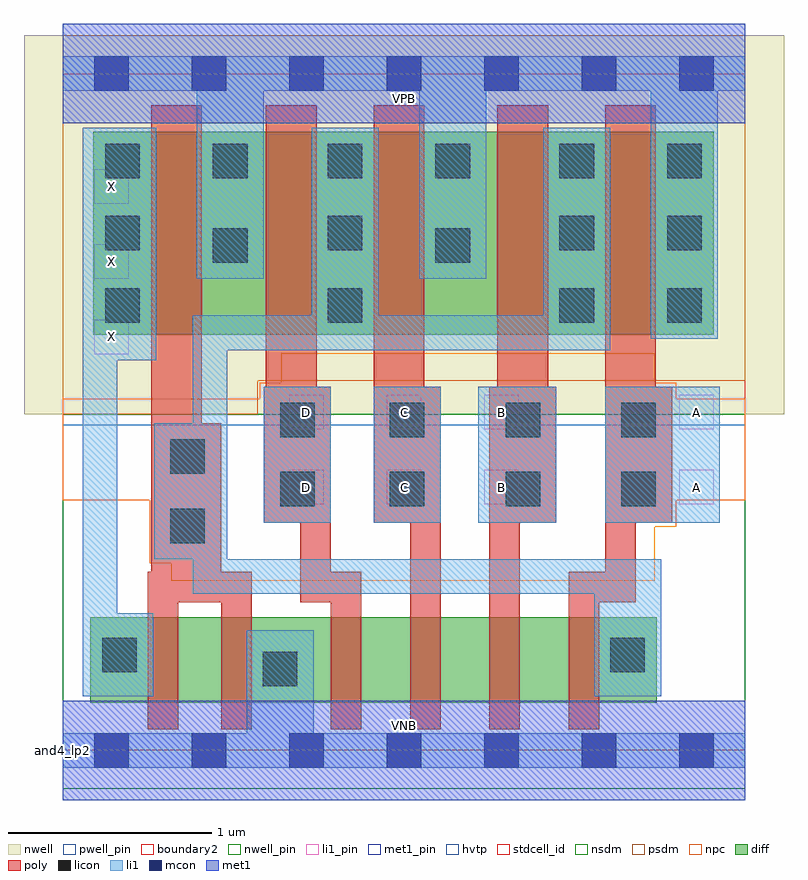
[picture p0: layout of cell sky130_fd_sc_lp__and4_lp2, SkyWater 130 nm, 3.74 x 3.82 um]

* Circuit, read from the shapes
.subckt sky130_fd_sc_lp__and4_lp2 A B C D VGND VNB VPB VPWR X
XM1 n1 n2 X VNB sky130_fd_pr__nfet_01v8 w=0.42 l=0.15
XM2 VGND n2 n1 VNB sky130_fd_pr__nfet_01v8 w=0.42 l=0.15
XM3 n3 D VGND VNB sky130_fd_pr__nfet_01v8 w=0.42 l=0.15
XM4 n4 C n3 VNB sky130_fd_pr__nfet_01v8 w=0.42 l=0.15
XM5 n5 B n4 VNB sky130_fd_pr__nfet_01v8 w=0.42 l=0.15
XM6 n2 A n5 VNB sky130_fd_pr__nfet_01v8 w=0.42 l=0.15
XM7 VPWR n2 X VPB sky130_fd_pr__pfet_01v8_hvt w=1 l=0.25
XM8 n2 D VPWR VPB sky130_fd_pr__pfet_01v8_hvt w=1 l=0.25
XM9 VPWR C n2 VPB sky130_fd_pr__pfet_01v8_hvt w=1 l=0.25
XM10 n2 B VPWR VPB sky130_fd_pr__pfet_01v8_hvt w=1 l=0.25
XM11 VPWR A n2 VPB sky130_fd_pr__pfet_01v8_hvt w=1 l=0.25
.ends

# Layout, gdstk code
import gdstk
lib = gdstk.Library(unit=1e-6, precision=1e-09)
def R(c, l, rs):  # rectangles x0, y0, x1, y1
    for r in rs: c.add(gdstk.rectangle(r[:2], r[2:], *l))
def A(c, l, x, y, w, h, nx, ny, dx, dy):  # array of equal rectangles
    R(c, l, [(x+i*dx, y+j*dy, x+i*dx+w, y+j*dy+h) for i in range(nx) for j in range(ny)])
def P(c, l, *ps):  # polygons
    for p in ps: c.add(gdstk.Polygon(p, *l))
nwell_pin = (64, 16)
nwell = (64, 20)
diff = (65, 20)
poly = (66, 20)
licon = (66, 44)
li1_pin = (67, 16)
li1 = (67, 20)
mcon = (67, 44)
met1_pin = (68, 16)
met1 = (68, 20)
hvtp = (78, 44)
stdcell_id = (81, 4)
nsdm = (93, 44)
psdm = (94, 20)
npc = (95, 20)
pwell_pin = (122, 16)
boundary2 = (236, 0)

sky130_fd_sc_lp__and4_lp = lib.new_cell('sky130_fd_sc_lp__and4_lp2')
R(sky130_fd_sc_lp__and4_lp, nwell_pin, [(0,3.085,3.36,3.33)])
R(sky130_fd_sc_lp__and4_lp, nwell, [(-0.19,1.655,3.55,3.52)])
R(sky130_fd_sc_lp__and4_lp, diff, [(0.135,0.235,2.925,0.655), (0.15,2.045,3.205,3.045)])
P(sky130_fd_sc_lp__and4_lp, poly, [(0.93,0.88),(0.78,0.88),(0.78,1.61),(0.685,1.61),(0.685,3.175),(0.435,3.175),(0.435,0.88),(0.42,0.88),(0.42,0.105),(0.57,0.105),(0.57,0.73),(0.78,0.73),(0.78,0.105),(0.93,0.105)],
  [(1.47,0.88),(1.32,0.88),(1.32,1.79),(1.25,1.79),(1.25,3.175),(1,3.175),(1,1.79),(0.99,1.79),(0.99,1.12),(1.17,1.12),(1.17,0.73),(1.32,0.73),(1.32,0.105),(1.47,0.105)],
  [(1.86,1.79),(1.78,1.79),(1.78,3.175),(1.53,3.175),(1.53,1.12),(1.71,1.12),(1.71,0.105),(1.86,0.105)],
  [(2.43,1.79),(2.39,1.79),(2.39,3.175),(2.14,3.175),(2.14,1.79),(2.1,1.79),(2.1,0.105),(2.25,0.105),(2.25,1.12),(2.43,1.12)],
  [(3,1.79),(2.92,1.79),(2.92,3.175),(2.67,3.175),(2.67,0.88),(2.49,0.88),(2.49,0.105),(2.64,0.105),(2.64,0.73),(2.82,0.73),(2.82,1.12),(3,1.12)])
A(sky130_fd_sc_lp__and4_lp, licon, 1.61, 1.2, 0.17, 0.17, 3, 2, 0.57, 0.34)
A(sky130_fd_sc_lp__and4_lp, licon, 0.21, 2.105, 0.17, 0.17, 1, 3, 0, 0.355)
A(sky130_fd_sc_lp__and4_lp, licon, 1.305, 2.105, 0.17, 0.17, 1, 3, 0, 0.355)
A(sky130_fd_sc_lp__and4_lp, licon, 2.445, 2.105, 0.17, 0.17, 1, 3, 0, 0.355)
A(sky130_fd_sc_lp__and4_lp, licon, 2.975, 2.105, 0.17, 0.17, 1, 3, 0, 0.355)
R(sky130_fd_sc_lp__and4_lp, licon, [(0.985,0.315,1.155,0.485), (0.195,0.385,0.365,0.555), (2.695,0.385,2.865,0.555), (0.53,1.02,0.7,1.19), (1.07,1.2,1.24,1.37), (0.53,1.36,0.7,1.53), (1.07,1.54,1.24,1.71), (0.74,2.4,0.91,2.57), (1.835,2.4,2.005,2.57), (0.74,2.815,0.91,2.985), (1.835,2.815,2.005,2.985)])
A(sky130_fd_sc_lp__and4_lp, li1_pin, 1.115, 1.21, 0.17, 0.17, 3, 2, 0.48, 0.37)
A(sky130_fd_sc_lp__and4_lp, li1_pin, 0.155, 1.95, 0.17, 0.17, 1, 3, 0, 0.37)
R(sky130_fd_sc_lp__and4_lp, li1_pin, [(3.035,1.21,3.205,1.38), (3.035,1.58,3.205,1.75)])
R(sky130_fd_sc_lp__and4_lp, li1, [(0.99,1.12,1.32,1.79), (1.53,1.12,1.86,1.79), (2.045,1.12,2.43,1.79), (2.67,1.12,3.235,1.79)])
P(sky130_fd_sc_lp__and4_lp, li1, [(0.66,2.32),(0.66,3.245),(0,3.245),(0,3.415),(3.36,3.415),(3.36,3.245),(3.225,3.245),(3.225,2.025),(2.895,2.025),(2.895,3.245),(2.085,3.245),(2.085,2.32),(1.755,2.32),(1.755,3.245),(0.99,3.245),(0.99,2.32)],
  [(0.905,0.085),(0.905,0.59),(1.235,0.59),(1.235,0.085),(3.36,0.085),(3.36,-0.085),(0,-0.085),(0,0.085)],
  [(1.225,2.14),(1.225,3.065),(1.555,3.065),(1.555,2.14),(2.365,2.14),(2.365,3.065),(2.695,3.065),(2.695,1.97),(0.81,1.97),(0.81,0.94),(2.945,0.94),(2.945,0.265),(2.615,0.265),(2.615,0.77),(0.64,0.77),(0.64,0.94),(0.45,0.94),(0.45,1.61),(0.64,1.61),(0.64,2.14)],
  [(0.1,3.065),(0.46,3.065),(0.46,1.92),(0.27,1.92),(0.27,0.675),(0.445,0.675),(0.445,0.265),(0.1,0.265)])
A(sky130_fd_sc_lp__and4_lp, mcon, 0.155, -0.085, 0.17, 0.17, 7, 2, 0.48, 3.33)
R(sky130_fd_sc_lp__and4_lp, met1_pin, [(0,0,3.36,0.245), (0,3.085,3.36,3.33)])
R(sky130_fd_sc_lp__and4_lp, met1, [(0,-0.245,3.36,0.245), (0,3.085,3.36,3.575)])
R(sky130_fd_sc_lp__and4_lp, hvtp, [(0,1.6,3.36,3.33)])
R(sky130_fd_sc_lp__and4_lp, stdcell_id, [(0,0,3.36,3.33)])
R(sky130_fd_sc_lp__and4_lp, nsdm, [(0,-0.19,3.36,1.655)])
P(sky130_fd_sc_lp__and4_lp, psdm, [(3.36,3.52),(0,3.52),(0,1.655),(0.96,1.655),(0.96,1.82),(3.36,1.82)])
P(sky130_fd_sc_lp__and4_lp, npc, [(3.36,1.73),(3.02,1.73),(3.02,1.81),(2.915,1.81),(2.915,1.955),(1.075,1.955),(1.075,1.81),(0.97,1.81),(0.97,1.73),(0,1.73),(0,1.23),(0.43,1.23),(0.43,0.92),(0.535,0.92),(0.535,0.835),(2.915,0.835),(2.915,1.1),(3.02,1.1),(3.02,1.23),(3.36,1.23)])
R(sky130_fd_sc_lp__and4_lp, pwell_pin, [(0,0,3.36,0.245)])
R(sky130_fd_sc_lp__and4_lp, boundary2, [(0,0,3.36,3.33)])
sky130_fd_sc_lp__and4_lp.add(gdstk.Label('VNB', (1.68,0.123), layer=64, texttype=59))
sky130_fd_sc_lp__and4_lp.add(gdstk.Label('VPB', (1.68,3.208), layer=64, texttype=5))
sky130_fd_sc_lp__and4_lp.add(gdstk.Label('and4_lp2', (0,0), layer=83, texttype=44))
sky130_fd_sc_lp__and4_lp.add(gdstk.Label('VPWR', (1.68,3.208), layer=68, texttype=5))
sky130_fd_sc_lp__and4_lp.add(gdstk.Label('VGND', (1.68,0.123), layer=68, texttype=5))
sky130_fd_sc_lp__and4_lp.add(gdstk.Label('D', (1.2,1.295), layer=67, texttype=5))
sky130_fd_sc_lp__and4_lp.add(gdstk.Label('D', (1.2,1.665), layer=67, texttype=5))
sky130_fd_sc_lp__and4_lp.add(gdstk.Label('C', (1.68,1.295), layer=67, texttype=5))
sky130_fd_sc_lp__and4_lp.add(gdstk.Label('C', (1.68,1.665), layer=67, texttype=5))
sky130_fd_sc_lp__and4_lp.add(gdstk.Label('B', (2.16,1.295), layer=67, texttype=5))
sky130_fd_sc_lp__and4_lp.add(gdstk.Label('B', (2.16,1.665), layer=67, texttype=5))
sky130_fd_sc_lp__and4_lp.add(gdstk.Label('A', (3.12,1.295), layer=67, texttype=5))
sky130_fd_sc_lp__and4_lp.add(gdstk.Label('A', (3.12,1.665), layer=67, texttype=5))
sky130_fd_sc_lp__and4_lp.add(gdstk.Label('X', (0.24,2.035), layer=67, texttype=5))
sky130_fd_sc_lp__and4_lp.add(gdstk.Label('X', (0.24,2.405), layer=67, texttype=5))
sky130_fd_sc_lp__and4_lp.add(gdstk.Label('X', (0.24,2.775), layer=67, texttype=5))

lib.write_gds('sky130_fd_sc_lp__and4_lp2.gds')
